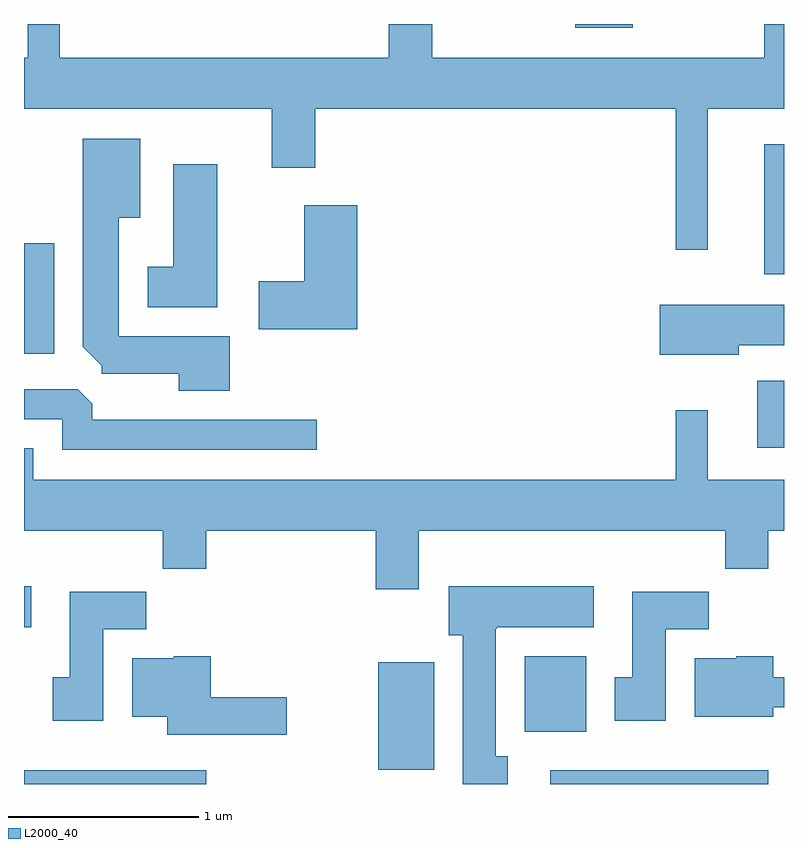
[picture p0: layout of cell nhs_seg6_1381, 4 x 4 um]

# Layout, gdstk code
import gdstk
lib = gdstk.Library(unit=1e-6, precision=1e-09)
def R(c, l, rs):  # rectangles x0, y0, x1, y1
    for r in rs: c.add(gdstk.rectangle(r[:2], r[2:], *l))
def P(c, l, *ps):  # polygons
    for p in ps: c.add(gdstk.Polygon(p, *l))
L2000_40 = (2000, 40)

nhs_seg6_1381 = lib.new_cell('nhs_seg6_1381')
R(nhs_seg6_1381, L2000_40, [(225.611,1644.162,226.569,1644.234), (228.381,1644.162,229.529,1644.234), (227.476,1644.236,227.769,1644.804), (228.246,1644.436,228.569,1644.834), (225.611,1644.986,225.649,1645.204), (229.471,1645.931,229.611,1646.284), (225.611,1646.426,225.769,1647.009), (229.506,1646.846,229.611,1647.528), (228.511,1648.141,228.814,1648.162)])
P(nhs_seg6_1381, L2000_40, [(229.209,1647.716),(229.611,1647.716),(229.611,1648.162),(229.506,1648.162),(229.506,1647.984),(227.759,1647.984),(227.759,1648.162),(227.531,1648.162),(227.531,1647.984),(225.799,1647.984),(225.799,1648.162),(225.631,1648.162),(225.631,1647.984),(225.611,1647.984),(225.611,1647.716),(226.916,1647.716),(226.916,1647.406),(227.144,1647.406),(227.144,1647.716),(229.041,1647.716),(229.041,1646.973),(229.209,1646.973)],
  [(226.694,1646.519),(226.109,1646.519),(226.109,1647.141),(226.224,1647.141),(226.224,1647.559),(225.921,1647.559),(225.921,1646.464),(226.021,1646.364),(226.021,1646.321),(226.426,1646.321),(226.426,1646.231),(226.694,1646.231)],
  [(226.629,1647.424),(226.396,1647.424),(226.396,1646.884),(226.261,1646.884),(226.261,1646.671),(226.629,1646.671)],
  [(227.364,1647.209),(227.086,1647.209),(227.086,1646.809),(226.846,1646.809),(226.846,1646.556),(227.364,1646.556)],
  [(229.374,1646.471),(229.611,1646.471),(229.611,1646.684),(228.956,1646.684),(228.956,1646.421),(229.374,1646.421)],
  [(227.153,1646.079),(225.969,1646.079),(225.969,1646.164),(225.894,1646.239),(225.611,1646.239),(225.611,1646.081),(225.811,1646.081),(225.811,1645.921),(227.153,1645.921)],
  [(227.689,1645.496),(229.301,1645.496),(229.301,1645.296),(229.529,1645.296),(229.529,1645.496),(229.611,1645.496),(229.611,1645.764),(229.209,1645.764),(229.209,1646.128),(229.041,1646.128),(229.041,1645.764),(225.659,1645.764),(225.659,1645.929),(225.611,1645.929),(225.611,1645.496),(226.341,1645.496),(226.341,1645.296),(226.569,1645.296),(226.569,1645.496),(227.461,1645.496),(227.461,1645.186),(227.689,1645.186)],
  [(228.158,1644.309),(228.094,1644.309),(228.094,1644.98),(228.1,1644.98),(228.1,1644.986),(228.609,1644.986),(228.609,1645.204),(227.846,1645.204),(227.846,1644.946),(227.921,1644.946),(227.921,1644.162),(228.158,1644.162)],
  [(228.989,1644.976),(229.214,1644.976),(229.214,1645.174),(228.811,1645.174),(228.811,1644.724),(228.721,1644.724),(228.721,1644.496),(228.989,1644.496)],
  [(226.029,1644.976),(226.254,1644.976),(226.254,1645.174),(225.851,1645.174),(225.851,1644.724),(225.761,1644.724),(225.761,1644.496),(226.029,1644.496)],
  [(226.994,1644.619),(226.594,1644.619),(226.594,1644.834),(226.4,1644.834),(226.4,1644.824),(226.181,1644.824),(226.181,1644.516),(226.366,1644.516),(226.366,1644.421),(226.994,1644.421)],
  [(229.554,1644.566),(229.611,1644.566),(229.611,1644.724),(229.554,1644.724),(229.554,1644.834),(229.36,1644.834),(229.36,1644.824),(229.141,1644.824),(229.141,1644.516),(229.554,1644.516)])

lib.write_gds('nhs_seg6_1381.gds')
